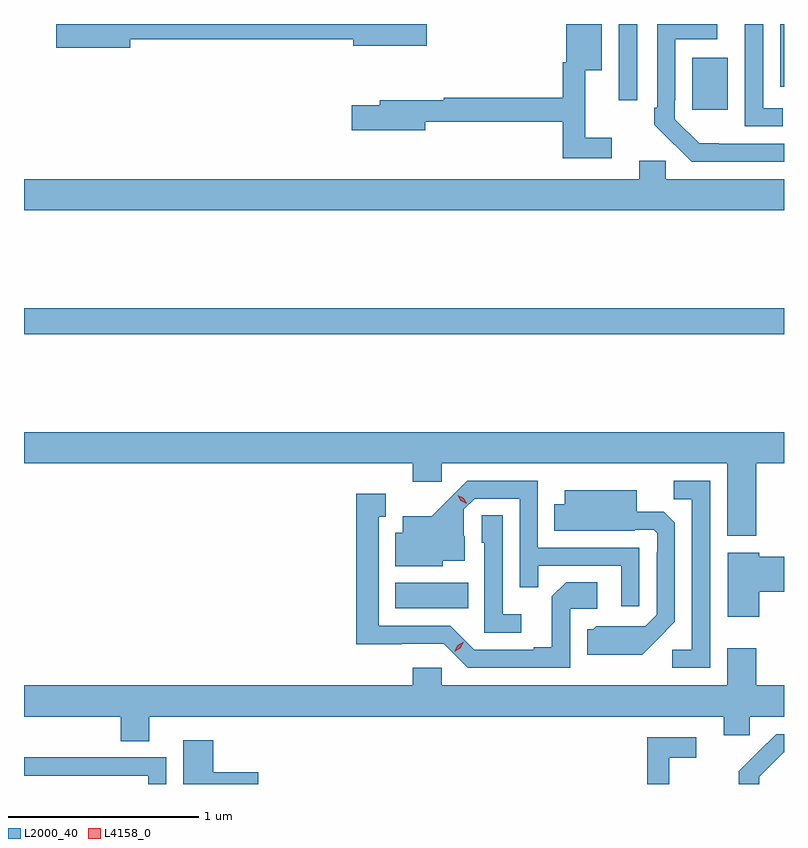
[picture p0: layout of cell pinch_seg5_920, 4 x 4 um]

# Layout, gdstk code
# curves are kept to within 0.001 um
import gdstk
lib = gdstk.Library(unit=1e-6, precision=1e-09)
def R(c, l, rs):  # rectangles x0, y0, x1, y1
    for r in rs: c.add(gdstk.rectangle(r[:2], r[2:], *l))
def P(c, l, *ps):  # polygons
    for p in ps: c.add(gdstk.Polygon(p, *l))
L2000_40 = (2000, 40)
L4158_0 = (4158, 0)

pinch_seg5_920 = lib.new_cell('pinch_seg5_920')
R(pinch_seg5_920, L2000_40, [(684.38,897.29,684.764,897.424), (682.426,898.732,686.426,898.868), (685.943,899.913,686.131,900.187), (685.557,899.964,685.653,900.365)])
P(pinch_seg5_920, L2000_40, [(682.984,900.286),(684.158,900.286),(684.158,900.251),(684.547,900.251),(684.547,900.365),(682.596,900.365),(682.596,900.239),(682.984,900.239)],
  [(686.419,899.922),(686.316,899.922),(686.316,900.365),(686.219,900.365),(686.219,900.283),(686.22,900.283),(686.22,899.826),(686.419,899.826)],
  [(686.426,899.736),(685.98,899.737),(685.851,899.865),(685.851,899.965),(685.854,899.965),(685.854,900.285),(686.074,900.285),(686.074,900.365),(685.758,900.365),(685.758,899.923),(685.743,899.923),(685.743,899.835),(685.94,899.64),(686.426,899.64)],
  [(685.519,899.767),(685.379,899.767),(685.379,900.122),(685.468,900.122),(685.468,900.365),(685.28,900.365),(685.28,900.165),(685.261,900.165),(685.261,899.978),(684.634,899.978),(684.634,899.963),(684.299,899.963),(684.299,899.937),(684.15,899.937),(684.15,899.807),(684.538,899.807),(684.538,899.85),(685.261,899.85),(685.261,899.658),(685.519,899.658)],
  [(686.426,900.365),(686.407,900.365),(686.407,900.29),(686.406,900.29),(686.406,900.036),(686.426,900.036)],
  [(686.426,899.548),(685.803,899.548),(685.803,899.646),(685.664,899.646),(685.664,899.548),(682.426,899.548),(682.426,899.384),(686.426,899.384)],
  [(686.279,898.052),(686.426,898.052),(686.426,898.216),(682.426,898.216),(682.426,898.052),(684.473,898.052),(684.473,897.957),(684.624,897.957),(684.624,898.052),(686.126,898.052),(686.126,897.672),(686.279,897.672)],
  [(685.665,897.609),(685.131,897.609),(685.131,897.96),(684.758,897.96),(684.571,897.775),(684.419,897.775),(684.419,897.688),(684.38,897.688),(684.38,897.512),(684.63,897.512),(684.63,897.539),(684.745,897.539),(684.745,897.668),(684.741,897.668),(684.741,897.81),(684.798,897.867),(685.035,897.867),(685.035,897.4),(685.133,897.4),(685.133,897.513),(685.569,897.513),(685.569,897.3),(685.665,897.3)],
  [(686.037,897.96),(685.846,897.96),(685.846,897.865),(685.941,897.865),(685.941,897.072),(685.839,897.072),(685.839,896.976),(686.037,896.976)],
  [(685.759,897.125),(685.851,897.218),(685.851,897.74),(685.792,897.799),(685.651,897.799),(685.651,897.91),(685.271,897.91),(685.271,897.838),(685.216,897.838),(685.216,897.698),(685.64,897.698),(685.64,897.702),(685.74,897.702),(685.758,897.684),(685.758,897.584),(685.755,897.584),(685.755,897.255),(685.695,897.195),(685.438,897.196),(685.422,897.18),(685.391,897.18),(685.391,897.044),(685.679,897.044)],
  [(685.302,897.288),(685.444,897.288),(685.444,897.428),(685.279,897.428),(685.203,897.352),(685.203,897.085),(685.109,897.085),(685.109,897.072),(684.795,897.072),(684.669,897.198),(684.292,897.198),(684.292,897.771),(684.331,897.771),(684.331,897.892),(684.174,897.892),(684.174,897.101),(684.636,897.102),(684.762,896.976),(685.302,896.976)],
  [(685.042,897.259),(684.945,897.259),(684.945,897.779),(684.834,897.779),(684.834,897.636),(684.849,897.636),(684.849,897.162),(685.042,897.162)],
  [(686.296,897.377),(686.426,897.377),(686.426,897.56),(686.296,897.56),(686.296,897.583),(686.129,897.583),(686.129,897.246),(686.296,897.246)],
  [(683.086,896.72),(686.108,896.72),(686.108,896.622),(686.247,896.622),(686.247,896.72),(686.426,896.72),(686.426,896.884),(686.279,896.884),(686.279,897.079),(686.126,897.079),(686.126,896.884),(684.624,896.884),(684.624,896.977),(684.473,896.977),(684.473,896.884),(682.426,896.884),(682.426,896.72),(682.934,896.72),(682.934,896.59),(683.086,896.59)],
  [(686.295,896.403),(686.424,896.532),(686.426,896.532),(686.426,896.628),(686.384,896.628),(686.293,896.537),(686.292,896.538),(686.187,896.433),(686.187,896.365),(686.295,896.365)],
  [(685.823,896.502),(685.963,896.502),(685.963,896.61),(685.705,896.61),(685.705,896.365),(685.823,896.365)],
  [(683.659,896.427),(683.423,896.427),(683.423,896.596),(683.264,896.596),(683.264,896.365),(683.659,896.365)],
  [(683.175,896.505),(682.85,896.505),(682.85,896.507),(682.426,896.507),(682.426,896.409),(683.079,896.409),(683.079,896.365),(683.175,896.365)])
P(pinch_seg5_920, L4158_0, [(684.756,897.841),(684.725,897.857),(684.708,897.886),(684.708,897.886),(684.708,897.886),(684.739,897.871),(684.756,897.842),(684.756,897.841)],
  [(684.691,897.062),(684.691,897.062),(684.708,897.094),(684.74,897.113),(684.741,897.113),(684.741,897.113),(684.723,897.08),(684.691,897.062)])

lib.write_gds('pinch_seg5_920.gds')
